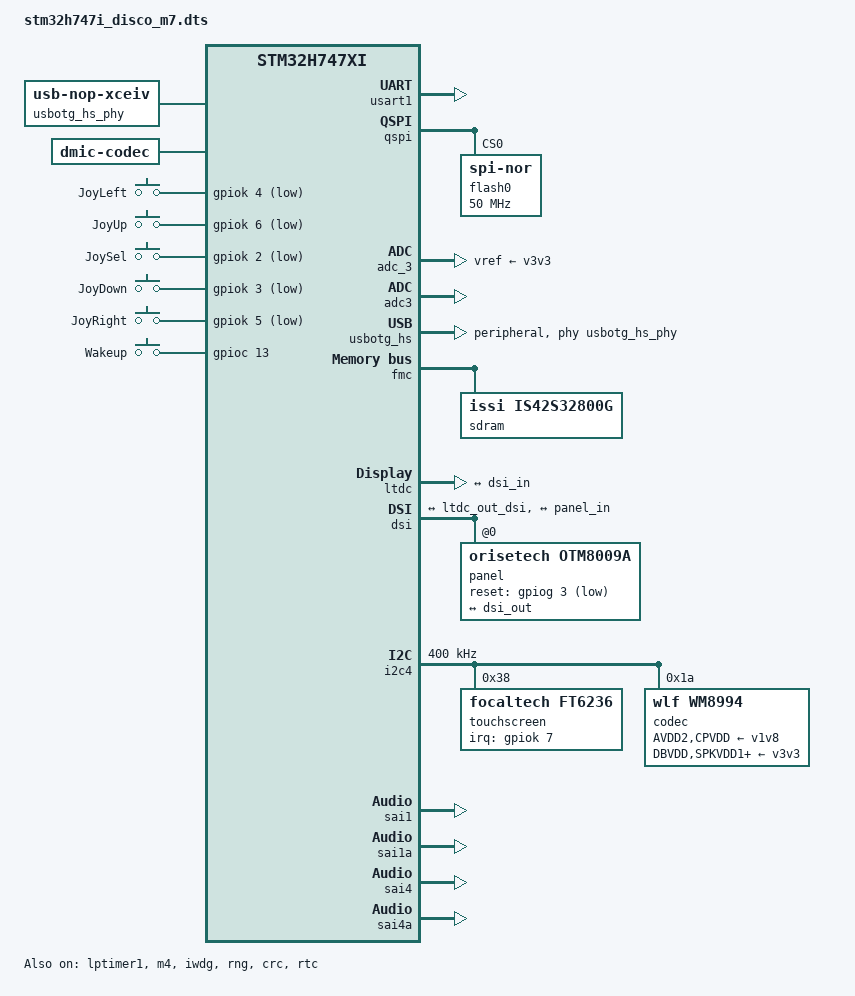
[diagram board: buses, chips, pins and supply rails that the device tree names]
// SPDX-FileCopyrightText: 2026 Core Devices LLC
// SPDX-License-Identifier: (GPL-2.0-only OR BSD-2-Clause)

/dts-v1/;

// The kit as the Cortex-M7 runs it: the clocks, USART1 for its console, LPTIM1 to count time, and
// the Cortex-M4, which it starts

#include "st/stm32h747xi_m7.dtsi"
#include "stm32h747i_disco.dtsi"

/ {
	// The USB3320 on the ULPI of the USB OTG HS, clocked by its own 24 MHz crystal
	usbotg_hs_phy: usb-phy {
		compatible = "usb-nop-xceiv";
		#phy-cells = <0>;
		clocks = <&rcc USB1ULPI_CK>;
		clock-names = "main_clk";
	};

	reserved-memory {
		#address-cells = <1>;
		#size-cells = <1>;
		ranges;

		// The framebuffer, at the start of the SDRAM
		fb_mem: framebuffer@70000000 {
			reg = <0x70000000 0xbb800>;
			no-map;
		};

		// The raw ring of the microphones, in the SRAM4, the only RAM the BDMA reaches
		mic_ring: mic-ring@38000000 {
			reg = <0x38000000 0x1000>;
			no-map;
		};
	};

	// What the LTDC sends to the panel, landscape: the panel is turned a quarter turn
	framebuffer {
		compatible = "simple-framebuffer";
		memory-region = <&fb_mem>;
		width = <800>;
		height = <480>;
		stride = <1600>;
		format = "r5g6b5";
		display = <&ltdc>;
	};

	// The headphone output of the codec, on the audio jack
	speaker: sound-speaker {
		compatible = "simple-audio-card";
		simple-audio-card,name = "speaker";
		simple-audio-card,format = "i2s";

		simple-audio-card,cpu {
			sound-dai = <&sai1a>;
		};

		simple-audio-card,codec {
			sound-dai = <&codec>;
		};
	};

	// The pair of digital microphones, on the PDM interface of SAI4
	dmic: dmic {
		compatible = "dmic-codec";
		#sound-dai-cells = <0>;
	};

	mic: sound-mic {
		compatible = "simple-audio-card";
		simple-audio-card,name = "mic";
		simple-audio-card,format = "pdm";

		simple-audio-card,cpu {
			sound-dai = <&sai4a>;
		};

		simple-audio-card,codec {
			sound-dai = <&dmic>;
		};
	};

	// The joystick, as the four buttons of a watch
	buttons: gpio-keys {
		compatible = "gpio-keys";

		button-back {
			label = "JoyLeft";
			gpios = <&gpiok 4 (GPIO_ACTIVE_LOW | GPIO_PULL_UP)>;
			linux,code = <KEY_BACK>;
		};

		button-up {
			label = "JoyUp";
			gpios = <&gpiok 6 (GPIO_ACTIVE_LOW | GPIO_PULL_UP)>;
			linux,code = <KEY_UP>;
		};

		button-select {
			label = "JoySel";
			gpios = <&gpiok 2 (GPIO_ACTIVE_LOW | GPIO_PULL_UP)>;
			linux,code = <KEY_SELECT>;
		};

		button-down {
			label = "JoyDown";
			gpios = <&gpiok 3 (GPIO_ACTIVE_LOW | GPIO_PULL_UP)>;
			linux,code = <KEY_DOWN>;
		};

		button-right {
			label = "JoyRight";
			gpios = <&gpiok 5 (GPIO_ACTIVE_LOW | GPIO_PULL_UP)>;
			linux,code = <KEY_RIGHT>;
		};

		// On a wakeup pin, it starts the kit again from power-off
		button-wakeup {
			label = "Wakeup";
			gpios = <&gpioc 13 GPIO_ACTIVE_HIGH>;
			linux,code = <KEY_WAKEUP>;
			wakeup-source;
		};
	};
};

&led_orange {
	status = "disabled";
};

// The CPU at 400 MHz from PLL1 on HSE, AHB at 200 MHz and APB at 100 MHz; LPTIM1 counts the LSE
// crystal; the USB OTG HS takes its 48 MHz from HSI48
&rcc {
	assigned-clocks = <&rcc PLLSRC>, <&rcc PLL1_P>, <&rcc SYS_CK>, <&rcc HCLK>,
			  <&rcc PCLK1>, <&rcc PCLK2>, <&rcc PCLK3>, <&rcc PCLK4>,
			  <&rcc LPTIM1_CK>, <&rcc RTC_CK>, <&rcc USB1OTG_CK>, <&rcc PLL3_R>,
			  <&rcc PLL2_P>, <&rcc SAI1_CK>, <&rcc SAI4A_CK>;
	assigned-clock-parents = <&rcc HSE_CK>, <0>, <&rcc PLL1_P>, <0>, <0>, <0>, <0>, <0>,
				 <&rcc LSE_CK>, <&rcc LSE_CK>, <&rcc RC48_CK>, <0>, <0>, <&rcc PLL2_P>,
				 <&rcc PLL2_P>;
	// PLL3 R is the pixel clock of the frames to the panel; SAI1 and SAI4 divide PLL2 P to 256 and
	// 128 times the audio rates within 0.03%
	assigned-clock-rates = <0>, <400000000>, <0>, <200000000>, <100000000>, <100000000>,
			       <100000000>, <100000000>, <0>, <0>, <0>, <42000000>, <73750000>, <0>,
			       <0>;
};

&dma1 {
	status = "okay";
};

&dma2 {
	status = "okay";
};

&dmamux1 {
	status = "okay";
};

&usart1 {
	pinctrl-0 = <&usart1_default>;
	pinctrl-names = "default";
	dmas = <&dmamux1 41 0x400 0x10>;
	dma-names = "rx";
	status = "okay";
};

// The system timer, on the LSE, which keeps running in Stop mode
&lptimer1 {
	status = "okay";

	timer {
		status = "okay";
	};
};

&m4 {
	st,auto-boot;
	status = "okay";
};

&iwdg {
	status = "okay";
};

&rng {
	status = "okay";
};

&crc {
	status = "okay";
};

// The two MT25QL512ABB, one on each bank, share the chip select: they work as one flash, each
// holding every other byte
&qspi {
	pinctrl-0 = <&qspi_default>;
	pinctrl-names = "default";
	status = "okay";

	flash0: flash@0 {
		compatible = "jedec,spi-nor";
		reg = <0>;
		parallel-memories = /bits/ 64 <0x4000000 0x4000000>;
		spi-max-frequency = <50000000>;
		spi-rx-bus-width = <4>;
		spi-tx-bus-width = <4>;
	};
};

// VREF+ is tied to the 3.3 V of VDDA
&adc_3 {
	vdda-supply = <&v3v3>;
	vref-supply = <&v3v3>;
	status = "okay";
};

&adc3 {
	status = "okay";
};

&rtc {
	status = "okay";
};

// The USB OTG HS, on its micro-AB connector, as a device
&usbotg_hs {
	dr_mode = "peripheral";
	phys = <&usbotg_hs_phy>;
	phy-names = "usb2-phy";
	usb33d-supply = <&usb33>;
	pinctrl-0 = <&usbotg_hs_ulpi>;
	pinctrl-names = "default";
	status = "okay";
};

// The IS42S32800G-6 on SDRAM bank 2, swapped to where the CPU caches it
&fmc {
	pinctrl-0 = <&fmc_default>;
	pinctrl-names = "default";
	status = "okay";

	sdram: sdram@70000000 {
		compatible = "issi,is42s32800g", "jedec,sdr-sdram";
		reg = <0x70000000 0x2000000>;
		io-width = <32>;
		banks = <4>;
		row-bits = <12>;
		col-bits = <9>;
		tRC = <60000>;
		tRAS-min = <42000>;
		tRP = <18000>;
		tRCD = <18000>;
		tWR = <12000>;
		tMRD = <12000>;
		tXSR = <70000>;
		tREF-ms = <64>;
		cas-latency-freqs = <2 100000000>, <3 166000000>;
	};
};

&dma2d {
	status = "okay";
};

&ltdc {
	status = "okay";

	port {
		ltdc_out_dsi: endpoint {
			remote-endpoint = <&dsi_in>;
		};
	};
};

// The 4" 480x800 panel of the MB1166 daughterboard, with its tearing effect on the TE pin
&dsi {
	pinctrl-0 = <&dsi_default>;
	pinctrl-names = "default";
	status = "okay";

	ports {
		#address-cells = <1>;
		#size-cells = <0>;

		port@0 {
			reg = <0>;

			dsi_in: endpoint {
				remote-endpoint = <&ltdc_out_dsi>;
			};
		};

		port@1 {
			reg = <1>;

			dsi_out: endpoint {
				remote-endpoint = <&panel_in>;
				data-lanes = <1 2>;
			};
		};
	};

	panel: panel@0 {
		compatible = "orisetech,otm8009a";
		reg = <0>;
		reset-gpios = <&gpiog 3 GPIO_ACTIVE_LOW>;
		rotation = <270>;

		port {
			panel_in: endpoint {
				remote-endpoint = <&dsi_out>;
			};
		};
	};
};

// The capacitive touch controller of the MB1166 module, and the audio codec
&i2c4 {
	pinctrl-0 = <&i2c4_default>;
	pinctrl-names = "default";
	clock-frequency = <400000>;
	status = "okay";

	touchscreen: touchscreen@38 {
		compatible = "focaltech,ft6236";
		reg = <0x38>;
		pinctrl-0 = <&touch_default>;
		pinctrl-names = "default";
		interrupt-parent = <&gpiok>;
		interrupts = <7 IRQ_TYPE_EDGE_FALLING>;
		touchscreen-size-x = <480>;
		touchscreen-size-y = <800>;
		// Portrait, its axes turned with the frame
		touchscreen-inverted-x;
		touchscreen-swapped-x-y;
	};

	codec: audio-codec@1a {
		compatible = "wlf,wm8994";
		reg = <0x1a>;
		#sound-dai-cells = <0>;
		AVDD2-supply = <&v1v8>;
		CPVDD-supply = <&v1v8>;
		DBVDD-supply = <&v3v3>;
		SPKVDD1-supply = <&v3v3>;
		SPKVDD2-supply = <&v3v3>;
	};
};

&sai1 {
	status = "okay";
};

// The master of the link to the codec
&sai1a {
	pinctrl-0 = <&sai1a_default>;
	pinctrl-names = "default";
	dma-names = "tx";
	status = "okay";
};

&bdma {
	status = "okay";
};

&dmamux2 {
	status = "okay";
};

&sai4 {
	status = "okay";
};

// The master of the microphones, through its PDM interface
&sai4a {
	pinctrl-0 = <&sai4a_pdm>;
	pinctrl-names = "default";
	dma-names = "rx";
	memory-region = <&mic_ring>;
	status = "okay";
};

&internal_flash {
	partitions {
		compatible = "fixed-partitions";
		#address-cells = <1>;
		#size-cells = <1>;

		// Bank 1, where the Cortex-M7 boots from
		partition@0 {
			label = "code";
			reg = <0x0 0x100000>;
		};

		// Bank 2, where the Cortex-M4 boots from, which the Cortex-M7 starts
		partition@100000 {
			label = "m4";
			reg = <0x100000 0x100000>;
		};
	};
};
